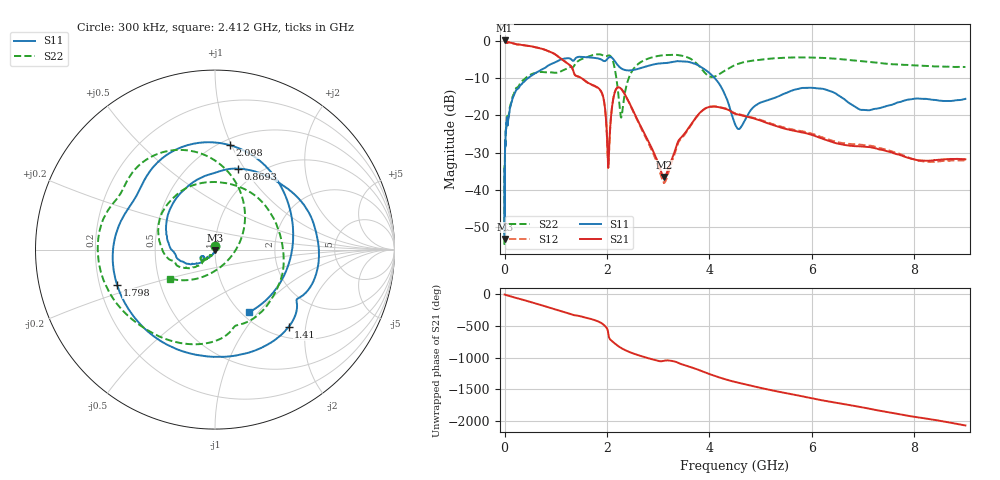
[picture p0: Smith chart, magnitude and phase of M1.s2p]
# Hz S DB R 50
! CMT, C1420, 19038819, 22.4.2/3
! Date: 2023-03-14 09:48:02
! Data: Format (Calibration Info)
! Freq	S11:dB/Ang(F2)	S21:dB/Ang(F2)	S12:dB/Ang(F2)	S22:dB/Ang(F2)
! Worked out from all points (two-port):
!   9001 points, 300 kHz to 9 GHz, reference 50 ohm
!   highest |S21| = 0.01 dB at 300 kHz (marker M1); lowest = -36.5 dB at 3.117 GHz (marker M2)
!   |S21| within 3 dB of the highest: start of sweep to 880.9 MHz
!   lowest |S11| = -53.1 dB at 1.3 MHz (marker M3), VSWR 1.00, Z = 49.9 - j0.203 ohm
!   |S11| at or under -10 dB: start of sweep to 465.4 MHz; 4.099 GHz to end of sweep
!   |S22| runs from -55.1 to -3.7 dB; largest |S21 - S12| = 0.0085
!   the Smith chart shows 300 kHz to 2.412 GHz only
!   S11 on the Smith chart (normalised r, x): 300 kHz: 1.00, +0.04; 869.3 MHz: 0.81, +0.94; 1.41 GHz: 1.21, -1.61; 1.798 GHz: 0.27, -0.16; 2.098 GHz: 0.56, +0.99; 2.412 GHz: 1.08, -0.90
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300000  -34.34 94.7  0.01 -1.3  0.01 -1.5  -33.47 91.0
1299967  -53.14 -112.4  -0.03 -1.0  -0.03 -1.0  -55.08 -120.5
1.402953e8  -16.45 -148.1  -0.65 -34.6  -0.66 -34.7  -15.92 -141.0
4.022866e8  -10.75 159.6  -1.31 -94.3  -1.32 -94.6  -10.17 172.5
6.522783e8  -8.36 114.0  -1.95 -153.0  -1.97 -153.3  -8.49 120.9
8.69271e8  -6.56 74.0  -2.92 154.4  -2.93 153.9  -8.52 64.7
1.094264e9  -5.11 26.3  -4.79 98.9  -4.79 98.1  -8.33 -4.9
1.410253e9  -4.51 -46.5  -9.50 28.6  -9.56 27.7  -5.79 -91.3
1.50025e9  -4.38 -72.3  -10.04 11.6  -10.11 10.6  -5.01 -114.3
1.79824e9  -4.73 -160.1  -12.42 -55.9  -12.50 -56.6  -3.72 -175.2
1.926236e9  -5.40 156.2  -15.14 -112.3  -15.24 -113.3  -4.03 157.5
2.022233e9  -4.70 123.1  -33.73 118.6  -33.97 114.5  -4.02 137.0
2.09823e9  -4.61 81.9  -17.87 -16.9  -17.80 -18.2  -4.85 105.2
2.273224e9  -7.42 -3.5  -12.87 -123.2  -12.92 -125.0  -20.60 -38.4
2.41222e9  -8.02 -61.4  -16.00 180.0  -16.13 178.2  -10.56 -146.8
3.0002e9  -6.18 150.8  -32.85 30.3  -33.72 25.5  -4.13 130.7
3.117196e9  -6.05 131.7  -36.55 33.1  -38.11 30.1  -3.93 119.5
3.788174e9  -6.70 34.6  -19.75 -110.5  -19.83 -112.7  -6.68 59.2
4.50015e9  -22.38 -19.2  -19.62 59.4  -19.50 57.9  -6.56 66.3
6.0001e9  -12.66 -29.5  -25.25 160.8  -24.93 159.9  -4.58 -6.5
7.50005e9  -17.43 -79.8  -29.75 -62.1  -29.42 -65.7  -6.23 -67.4
9e9  -15.63 -153.4  -31.80 91.8  -32.11 90.8  -7.09 -121.4
